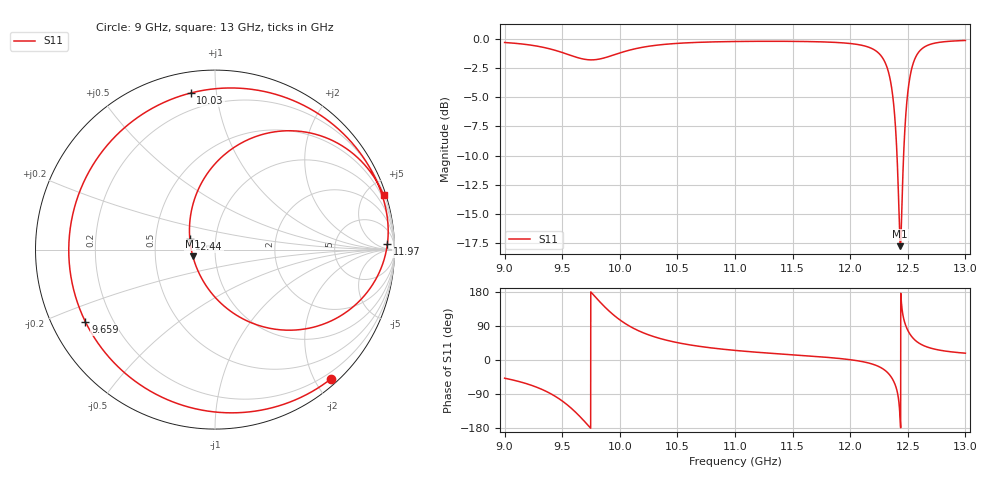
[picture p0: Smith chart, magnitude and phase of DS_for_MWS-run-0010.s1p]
! TOUCHSTONE file generated by CST DESIGN STUDIO
! Date and time: Wed Feb  5 13:44:27 2025
! Project name: C:\Work\MatlabApps\UnitCellOptimizationMatlab\CST\unitcell.cst
! Tree item: Tasks\Sweep1\SPara1\S-Parameters
! Header version: 2024
! Port assignment regex: !\s*Touchstone port\s*([0-9]+)\s*=\s*(CST MWS port|CST DES external port|CST DES block port)\s*(.+)\s* \(\"(.*)\"\)(\s*mode\s*([0-9]+))?.*
! Touchstone port assignment:
! Touchstone port 1 = CST DES external port 1 ("")
# GHz S MA R 50
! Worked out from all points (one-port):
!   4001 points, 9 GHz to 13 GHz, reference 50 ohm
!   lowest |S11| = -17.8 dB at 12.44 GHz (marker M1), VSWR 1.30, Z = 38.9 - j3 ohm
!   |S11| at or under -10 dB: 12.40645 GHz to 12.46353 GHz (57.08 MHz wide, 0.459 % of centre)
!   S11 on the Smith chart (normalised r, x): 9 GHz: 0.10, -2.24; 9.659 GHz: 0.10, -0.26; 10.03 GHz: 0.11, +0.85; 11.97 GHz: 31, +24; 12.44 GHz: 0.75, +0.09; 13 GHz: 0.26, +6.31
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9  0.9675 -48.0
9.267  0.9362 -70.5
9.5  0.8764 -108.1
9.58  0.8496 -127.6
9.659  0.8266 -150.9
9.733  0.8153 -175.2
9.804  0.8183 160.9
9.903  0.8416 130.3
10  0.8725 105.9
10.034  0.8829 98.8
10.246  0.9315 66.8
10.5  0.9594 45.8
11  0.9772 25.3
11.5  0.9785 13.7
11.974  0.9608 1.8
12  0.958 0.8
12.179  0.9159 -9.5
12.281  0.8312 -22.7
12.331  0.726 -35.3
12.376  0.5327 -55.3
12.405  0.328 -79.5
12.435  0.129 -162.9
12.443  0.1515 157.7
12.467  0.3465 105.7
12.5  0.5907 78.3
12.57  0.8408 50.5
12.653  0.9311 36.0
13  0.9873 18.0
